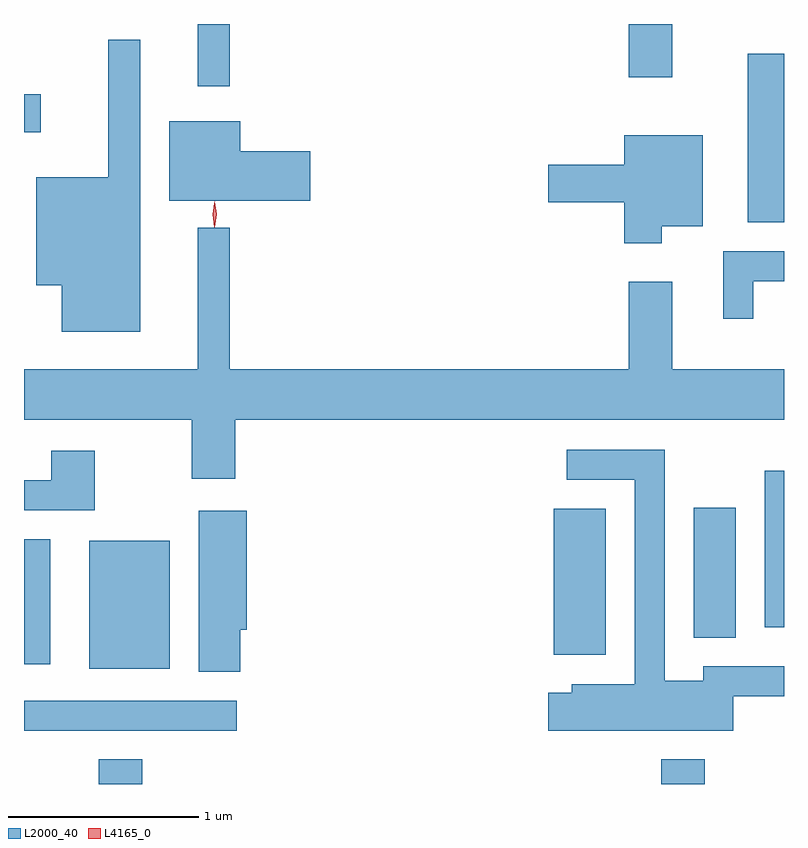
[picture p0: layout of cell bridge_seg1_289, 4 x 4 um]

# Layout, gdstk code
import gdstk
lib = gdstk.Library(unit=1e-6, precision=1e-09)
def R(c, l, rs):  # rectangles x0, y0, x1, y1
    for r in rs: c.add(gdstk.rectangle(r[:2], r[2:], *l))
def P(c, l, *ps):  # polygons
    for p in ps: c.add(gdstk.Polygon(p, *l))
L2000_40 = (2000, 40)
L4165_0 = (4165, 0)

bridge_seg1_289 = lib.new_cell('bridge_seg1_289')
R(bridge_seg1_289, L2000_40, [(887.041,899.88,887.269,900.009), (890.001,899.88,890.229,900.009), (886.647,900.161,887.768,900.319), (886.991,900.486,887.414,901.159), (886.647,900.511,886.784,901.169), (889.436,900.561,889.709,901.329), (890.171,900.651,890.394,901.334), (890.546,900.706,890.647,901.529), (890.456,902.836,890.647,903.724), (886.647,903.311,886.734,903.509), (887.561,903.553,887.729,903.88), (889.831,903.601,890.059,903.88)])
P(bridge_seg1_289, L2000_40, [(887.259,903.798),(887.091,903.798),(887.091,903.074),(886.711,903.074),(886.711,902.506),(886.846,902.506),(886.846,902.261),(887.259,902.261)],
  [(888.154,903.209),(887.784,903.209),(887.784,903.369),(887.411,903.369),(887.411,902.951),(888.154,902.951)],
  [(890.004,902.816),(890.219,902.816),(890.219,903.294),(889.806,903.294),(889.806,903.139),(889.406,903.139),(889.406,902.941),(889.806,902.941),(889.806,902.726),(890.004,902.726)],
  [(887.759,901.796),(890.647,901.796),(890.647,902.064),(890.059,902.064),(890.059,902.524),(889.831,902.524),(889.831,902.064),(887.729,902.064),(887.729,902.808),(887.561,902.808),(887.561,902.064),(886.647,902.064),(886.647,901.796),(887.531,901.796),(887.531,901.486),(887.759,901.486)],
  [(890.484,902.526),(890.647,902.526),(890.647,902.684),(890.326,902.684),(890.326,902.328),(890.484,902.328)],
  [(890.379,900.341),(890.647,900.341),(890.647,900.499),(890.221,900.499),(890.221,900.424),(890.019,900.424),(890.019,901.639),(889.503,901.639),(889.503,901.481),(889.861,901.481),(889.861,900.404),(889.531,900.404),(889.531,900.359),(889.406,900.359),(889.406,900.161),(890.379,900.161)],
  [(887.019,901.634),(886.791,901.634),(886.791,901.479),(886.647,901.479),(886.647,901.321),(887.019,901.321)],
  [(887.784,900.691),(887.819,900.691),(887.819,901.319),(887.566,901.319),(887.566,900.471),(887.784,900.471)])
P(bridge_seg1_289, L4165_0, [(887.65,902.813),(887.649,902.814),(887.64,902.876),(887.649,902.94),(887.65,902.94),(887.65,902.94),(887.66,902.876),(887.65,902.814)],
  [(887.649,902.81),(887.641,902.878),(887.651,902.945),(887.652,902.946),(887.652,902.945),(887.661,902.878),(887.65,902.81),(887.65,902.81)])

lib.write_gds('bridge_seg1_289.gds')
